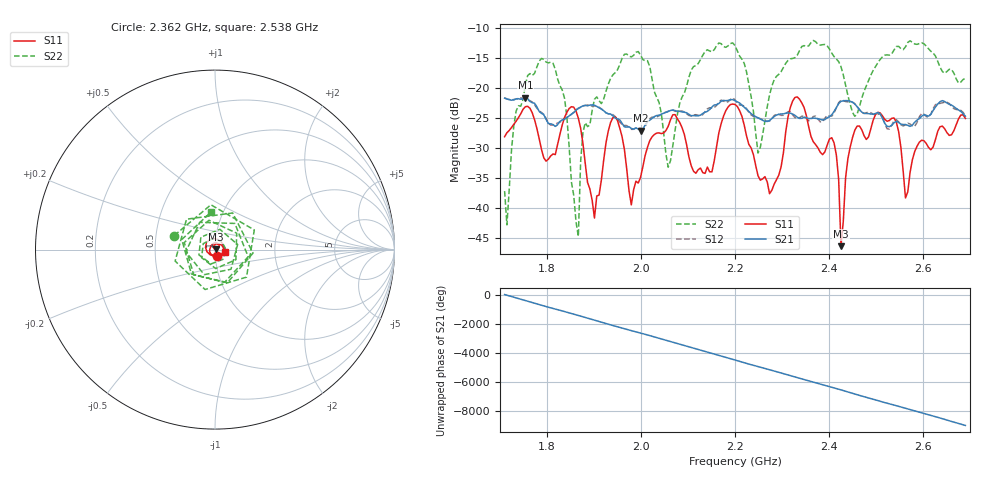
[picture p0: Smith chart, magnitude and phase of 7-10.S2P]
!Agilent Technologies,E5061B,MY49305579,A.02.22
!Date: Thu Aug 24 16:26:21 2017
!Data & Calibration Information:
!Freq	S11:SOLT2(ON)	S21:SOLT2(ON)	S12:SOLT2(ON)	S22:SOLT2(ON)
# Hz S dB R 50
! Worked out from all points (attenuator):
!   201 points, 1.71 GHz to 2.69 GHz, reference 50 ohm
!   highest |S21| = -21.58 dB at 1.754 GHz (marker M1); lowest = -27.1 dB at 1.999 GHz (marker M2)
!   lowest |S11| = -46.4 dB at 2.425 GHz (marker M3), VSWR 1.01, Z = 50.5 + j0.0778 ohm
!   |S11| at or under -10 dB: start of sweep to end of sweep
!   |S22| runs from -44.8 to -12.0 dB; largest |S21 - S12| = 0.0043
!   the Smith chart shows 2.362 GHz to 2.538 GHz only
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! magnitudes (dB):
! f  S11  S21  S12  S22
! 1.71 GHz  -28.1  -21.6  -21.6  -37.2
! 1.754 GHz  -23.1  -21.6  -21.9  -19.5
! 1.818 GHz  -31.1  -26.4  -26.0  -16.8
! 1.867 GHz  -25.0  -23.4  -23.3  -44.8
! 1.877 GHz  -29.2  -22.9  -23.0  -27.4
! 1.901 GHz  -41.7  -22.8  -23.0  -21.8
! 1.94 GHz  -24.9  -24.6  -24.4  -17.8
! 1.98 GHz  -39.5  -26.7  -26.9  -14.8
! 1.999 GHz  -34.9  -27.1  -26.7  -14.5
! 2.038 GHz  -27.4  -24.5  -24.6  -22.3
! 2.058 GHz  -26.4  -23.9  -23.8  -33.2
! 2.151 GHz  -33.9  -23.1  -23.3  -13.9
! 2.2 GHz  -22.7  -22.1  -21.9  -12.9
! 2.249 GHz  -34.6  -24.9  -24.9  -30.8
! 2.327 GHz  -21.5  -24.5  -24.9  -14.9
! 2.367 GHz  -28.9  -25.0  -24.7  -12.0
! 2.411 GHz  -29.1  -23.9  -24.1  -14.7
! 2.425 GHz  -46.4  -22.2  -22.0  -16.4
! 2.455 GHz  -27.0  -22.6  -22.6  -24.7
! 2.528 GHz  -25.4  -26.4  -26.8  -14.5
! 2.563 GHz  -38.3  -26.0  -26.1  -13.1
! 2.69 GHz  -25.0  -24.7  -24.5  -18.4
